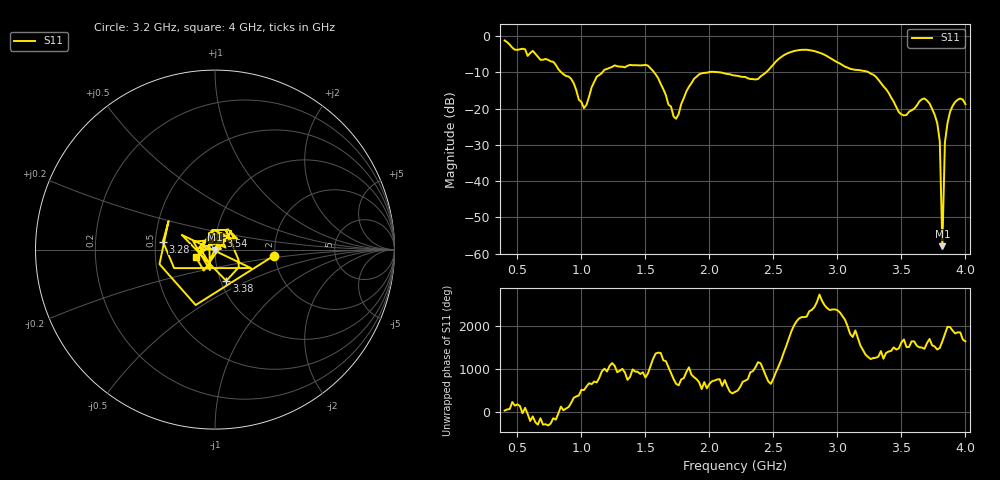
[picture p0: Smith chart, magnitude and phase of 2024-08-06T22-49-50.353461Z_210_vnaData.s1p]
!Created with skrf (http://scikit-rf.org).
# Hz S RI R 50.0
!freq ReS11 ImS11
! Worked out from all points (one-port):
!   181 points, 400 MHz to 4 GHz, reference 50 ohm
!   lowest |S11| = -58.0 dB at 3.82 GHz (marker M1), VSWR 1.00, Z = 49.9 - j0.0449 ohm
!   |S11| at or under -10 dB: 1.568 GHz to 1.993 GHz (424.9 MHz wide, 23.9 % of centre); 2.078 GHz to 2.443 GHz (365 MHz wide, 16.1 % of centre); 3.244 GHz to end of sweep (the widest 3 of 4)
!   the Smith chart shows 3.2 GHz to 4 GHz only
!   S11 on the Smith chart (normalised r, x): 3.2 GHz: 1.98, -0.15; 3.28 GHz: 0.55, +0.05; 3.38 GHz: 1.06, -0.38; 3.54 GHz: 1.06, +0.16; 4 GHz: 0.80, -0.06
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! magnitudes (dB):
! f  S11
! 400 MHz  -1.2
! 860 MHz  -10.6
! 920 MHz  -11.8
! 1.02 GHz  -19.9
! 1.12 GHz  -11.2
! 1.3 GHz  -8.4
! 1.52 GHz  -8.2
! 1.6 GHz  -11.6
! 1.72 GHz  -22.2
! 1.76 GHz  -21.5
! 1.92 GHz  -10.6
! 2.2 GHz  -10.9
! 2.38 GHz  -11.9
! 2.66 GHz  -4.1
! 3.1 GHz  -9.0
! 3.2 GHz  -9.6
! 3.28 GHz  -10.7
! 3.38 GHz  -14.7
! 3.54 GHz  -21.8
! 3.56 GHz  -20.9
! 3.68 GHz  -17.2
! 3.78 GHz  -24.0
! 3.8 GHz  -29.0
! 3.82 GHz  -58.0
! 3.84 GHz  -29.4
! 3.86 GHz  -24.1
! 3.92 GHz  -18.2
! 4 GHz  -18.8
